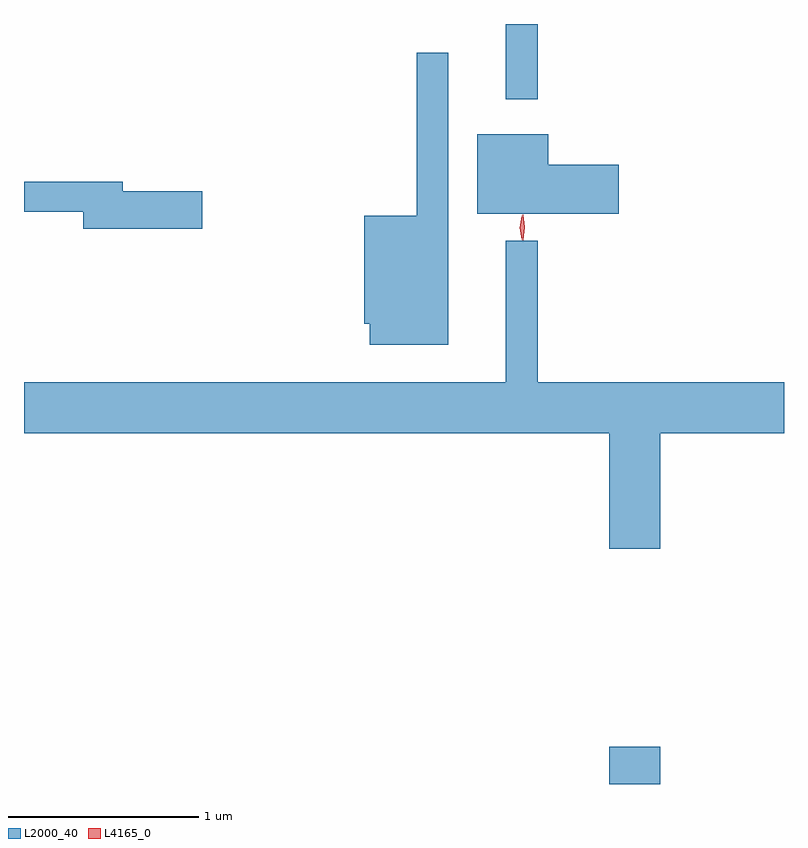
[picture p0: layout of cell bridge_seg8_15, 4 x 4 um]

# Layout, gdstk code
import gdstk
lib = gdstk.Library(unit=1e-6, precision=1e-09)
def R(c, l, rs):  # rectangles x0, y0, x1, y1
    for r in rs: c.add(gdstk.rectangle(r[:2], r[2:], *l))
def P(c, l, *ps):  # polygons
    for p in ps: c.add(gdstk.Polygon(p, *l))
L2000_40 = (2000, 40)
L4165_0 = (4165, 0)

bridge_seg8_15 = lib.new_cell('bridge_seg8_15')
R(bridge_seg8_15, L2000_40, [(1733.556,1916.709,1733.824,1916.904), (1733.011,1920.313,1733.179,1920.709)])
P(bridge_seg8_15, L2000_40, [(1732.709,1920.558),(1732.541,1920.558),(1732.541,1919.699),(1732.266,1919.699),(1732.266,1919.131),(1732.296,1919.131),(1732.296,1919.021),(1732.709,1919.021)],
  [(1733.604,1919.969),(1733.234,1919.969),(1733.234,1920.129),(1732.861,1920.129),(1732.861,1919.711),(1733.604,1919.711)],
  [(1731.414,1919.829),(1730.994,1919.829),(1730.994,1919.879),(1730.475,1919.879),(1730.475,1919.721),(1730.786,1919.721),(1730.786,1919.631),(1731.414,1919.631)],
  [(1733.824,1918.556),(1734.475,1918.556),(1734.475,1918.824),(1733.179,1918.824),(1733.179,1919.568),(1733.011,1919.568),(1733.011,1918.824),(1730.475,1918.824),(1730.475,1918.556),(1733.556,1918.556),(1733.556,1917.946),(1733.824,1917.946)])
P(bridge_seg8_15, L4165_0, [(1733.101,1919.57),(1733.101,1919.57),(1733.091,1919.638),(1733.101,1919.706),(1733.101,1919.706),(1733.102,1919.706),(1733.111,1919.638),(1733.102,1919.57)],
  [(1733.094,1919.573),(1733.084,1919.636),(1733.094,1919.699),(1733.094,1919.7),(1733.095,1919.699),(1733.104,1919.636),(1733.095,1919.573),(1733.095,1919.573)])

lib.write_gds('bridge_seg8_15.gds')
